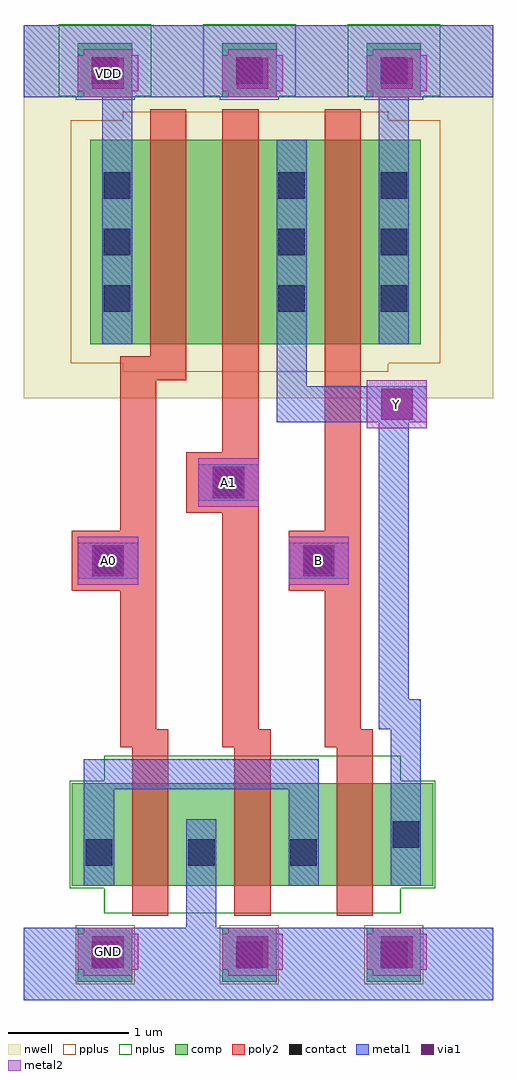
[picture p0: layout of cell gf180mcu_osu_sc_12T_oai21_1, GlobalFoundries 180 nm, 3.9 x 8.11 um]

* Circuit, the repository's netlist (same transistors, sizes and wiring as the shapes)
.inc "../../char/techfiles/design.hspice"
.lib "../../char/techfiles/sm141064.hspice" typical

.GLOBAL VDD
.GLOBAL GND

.option scale=0.05u

.subckt gf180mcu_osu_sc_12T_oai21_1 Y A0 A1 B
X0 Y B a_8_16 GND nmos_3p3 w=17 l=6
X1 GND A0 a_8_16 GND nmos_3p3 w=17 l=6
X2 a_27_106 A0 VDD VDD pmos_3p3 w=34 l=6
X3 VDD B Y VDD pmos_3p3 w=34 l=6
X4 Y A1 a_27_106 VDD pmos_3p3 w=34 l=6
X5 a_8_16 A1 GND GND nmos_3p3 w=17 l=6
.ends

** hspice subcircuit dictionary

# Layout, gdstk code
import gdstk
lib = gdstk.Library(unit=1e-6, precision=1e-09)
def R(c, l, rs):  # rectangles x0, y0, x1, y1
    for r in rs: c.add(gdstk.rectangle(r[:2], r[2:], *l))
def A(c, l, x, y, w, h, nx, ny, dx, dy):  # array of equal rectangles
    R(c, l, [(x+i*dx, y+j*dy, x+i*dx+w, y+j*dy+h) for i in range(nx) for j in range(ny)])
nwell = (21, 0)
comp = (22, 0)
poly2 = (30, 0)
pplus = (31, 0)
nplus = (32, 0)
contact = (33, 0)
metal1 = (34, 0)
via1 = (35, 0)
metal2 = (36, 0)

gf180mcu_osu_sc_12t_oai2 = lib.new_cell('gf180mcu_osu_sc_12T_oai21_1')
R(gf180mcu_osu_sc_12t_oai2, nwell, [(0,4.85,3.9,7.95)])
A(gf180mcu_osu_sc_12t_oai2, comp, 0.45, 0, 0.45, 0.45, 3, 2, 1.2, 7.35)
R(gf180mcu_osu_sc_12t_oai2, comp, [(0.4,0.8,3.4,1.65), (0.55,5.3,3.3,7)])
A(gf180mcu_osu_sc_12t_oai2, poly2, 0.9, 0.55, 0.3, 1.4, 3, 1, 0.85, 0)
A(gf180mcu_osu_sc_12t_oai2, poly2, 0.8, 1.95, 0.4, 0.15, 3, 1, 0.85, 0)
R(gf180mcu_osu_sc_12t_oai2, poly2, [(0.8,2.1,1.1,3.25), (1.65,2.1,1.95,3.9), (2.5,2.1,2.8,3.25), (0.4,3.25,1.1,3.75), (2.2,3.25,2.8,3.75), (0.8,3.75,1.1,5), (2.5,3.75,2.8,7.25), (1.35,3.9,1.95,4.4), (1.65,4.4,1.95,7.25), (0.8,5,1.35,5.2), (1.05,5.2,1.35,7.25)])
A(gf180mcu_osu_sc_12t_oai2, pplus, 0.43, -0.02, 0.49, 0.49, 3, 1, 1.2, 0)
R(gf180mcu_osu_sc_12t_oai2, pplus, [(0.82,5.07,3.03,5.14), (0.39,5.14,3.46,7.16), (0.82,7.16,3.03,7.23)])
A(gf180mcu_osu_sc_12t_oai2, nplus, 0.43, 7.33, 0.49, 0.03, 3, 1, 1.2, 0)
A(gf180mcu_osu_sc_12t_oai2, nplus, 0.29, 7.36, 0.77, 0.6, 3, 1, 1.2, 0)
R(gf180mcu_osu_sc_12t_oai2, nplus, [(0.67,0.57,3.13,0.78), (0.38,0.78,3.42,1.67), (0.67,1.67,3.13,1.88)])
A(gf180mcu_osu_sc_12t_oai2, contact, 0.565, 0.115, 0.22, 0.22, 3, 2, 1.2, 7.35)
A(gf180mcu_osu_sc_12t_oai2, contact, 0.515, 0.965, 0.22, 0.22, 3, 1, 0.85, 0)
A(gf180mcu_osu_sc_12t_oai2, contact, 0.665, 5.57, 0.22, 0.22, 1, 3, 0, 0.47)
A(gf180mcu_osu_sc_12t_oai2, contact, 2.115, 5.57, 0.22, 0.22, 1, 3, 0, 0.47)
A(gf180mcu_osu_sc_12t_oai2, contact, 2.965, 5.57, 0.22, 0.22, 1, 3, 0, 0.47)
R(gf180mcu_osu_sc_12t_oai2, contact, [(3.065,1.115,3.285,1.335), (0.59,3.39,0.81,3.61), (2.34,3.39,2.56,3.61), (1.59,4.04,1.81,4.26)])
R(gf180mcu_osu_sc_12t_oai2, metal1, [(0,-0.15,3.9,0.45), (1.35,0.45,1.6,1.35), (0.5,0.8,0.75,1.6), (2.2,0.8,2.45,1.6), (3.05,0.8,3.3,2.1), (0.5,1.6,2.45,1.85), (2.95,2.1,3.3,2.35), (2.95,2.35,3.2,4.65), (0.45,3.35,0.95,3.65), (2.2,3.35,2.7,3.65), (1.45,4,1.95,4.3), (2.1,4.65,3.35,4.95), (2.1,4.95,2.35,7), (0.65,5.3,0.9,7.35), (2.95,5.3,3.2,7.35), (0,7.35,3.9,7.95)])
A(gf180mcu_osu_sc_12t_oai2, via1, 0.57, 0.12, 0.26, 0.26, 3, 2, 1.2, 7.3)
R(gf180mcu_osu_sc_12t_oai2, via1, [(0.57,3.37,0.83,3.63), (2.32,3.37,2.58,3.63), (1.57,4.02,1.83,4.28), (2.97,4.67,3.23,4.93)])
A(gf180mcu_osu_sc_12t_oai2, metal2, 0.5, 0.05, 0.4, 0.05, 3, 2, 1.2, 0.35)
A(gf180mcu_osu_sc_12t_oai2, metal2, 0.45, 0.1, 0.5, 0.3, 3, 2, 1.2, 7.3)
A(gf180mcu_osu_sc_12t_oai2, metal2, 0.5, 7.35, 0.4, 0.05, 3, 2, 1.2, 0.35)
R(gf180mcu_osu_sc_12t_oai2, metal2, [(0.45,3.3,0.95,3.7), (2.2,3.3,2.7,3.7), (1.45,3.95,1.95,4.35), (2.85,4.6,3.35,5)])
gf180mcu_osu_sc_12t_oai2.add(gdstk.Label('GND', (0.7,0.25), layer=36, texttype=0))
gf180mcu_osu_sc_12t_oai2.add(gdstk.Label('VDD', (0.7,7.55), layer=36, texttype=0))
gf180mcu_osu_sc_12t_oai2.add(gdstk.Label('Y', (3.1,4.8), layer=36, texttype=10))
gf180mcu_osu_sc_12t_oai2.add(gdstk.Label('A0', (0.7,3.5), layer=36, texttype=10))
gf180mcu_osu_sc_12t_oai2.add(gdstk.Label('A1', (1.7,4.15), layer=36, texttype=10))
gf180mcu_osu_sc_12t_oai2.add(gdstk.Label('B', (2.45,3.5), layer=36, texttype=10))

lib.write_gds('gf180mcu_osu_sc_12T_oai21_1.gds')
